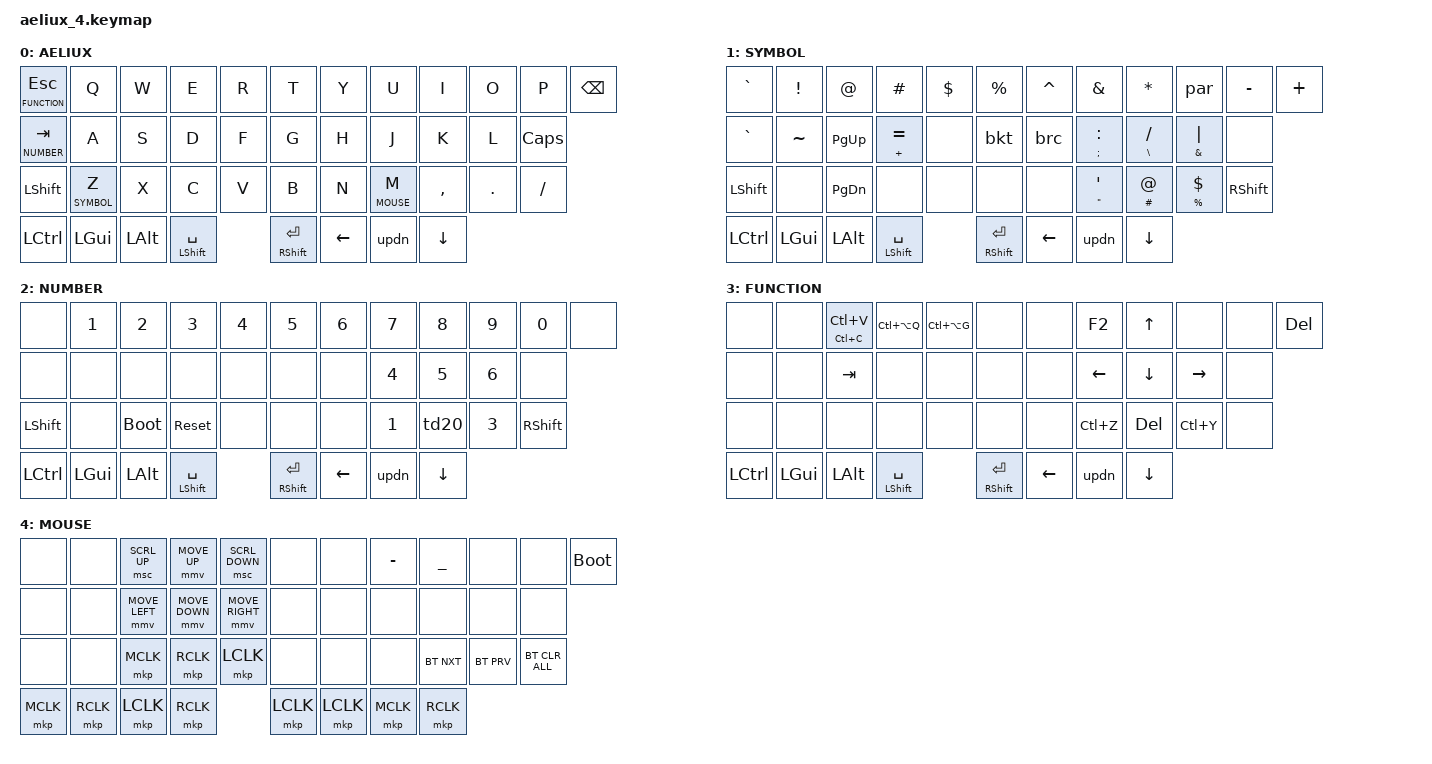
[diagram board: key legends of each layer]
/*
 * Copyright (c) 2025 miketronic
 * SPDX-License-Identifier: MIT
 * AELIUX 4 
 */

/*
 * Includes Cem's zmk-rgbled-widget - https://github.com/caksoylar/zmk-rgbled-widget
 * &ind_bat  // indicate battery level
 * &ind_con  // indicate connectivity status
 *
 * List of behvaiors here > https://github.com/zmkfirmware/zmk/tree/main/app/dts/behaviors
 *
 *
 * #undef ZMK_BEHAVIORS_KEEP_ALL
 * #define ZMK_BEHAVIORS_KEEP_BT
 * #define ZMK_BEHAVIORS_KEEP_KP
 * #define ZMK_BEHAVIORS_KEEP_LT
 * #define ZMK_BEHAVIORS_KEEP_MKP
 * #define ZMK_BEHAVIORS_KEEP_MMV
 * #define ZMK_BEHAVIORS_KEEP_MSC
 * #define ZMK_BEHAVIORS_KEEP_MT
 * #define ZMK_BEHAVIORS_KEEP_NONE
 * #define ZMK_BEHAVIORS_KEEP_SK
 *
 *
 */




#define ZMK_POINTING_DEFAULT_MOVE_VAL 500
#define ZMK_POINTING_DEFAULT_SCRL_VAL 40

#include <behaviors.dtsi>
#include <input/processors.dtsi>
#include <zephyr/dt-bindings/input/input-event-codes.h>
#include <dt-bindings/zmk/keys.h>
#include <dt-bindings/zmk/bt.h>
#include <dt-bindings/zmk/outputs.h>
#include <dt-bindings/zmk/pointing.h>

#define ALPHA       0
#define SYMBOL      1
#define NUMBER      2
#define FUNCTION    3
#define MOUSE       4

#define CPST   &cccv LC(C) LC(V)
#define ESCFN  &lt FUNCTION ESC
#define NTAB   &lt NUMBER TAB
#define SYMZ   &lt SYMBOL Z
#define MMSE   &lt MOUSE M

#define LSPC   &mt LSHIFT SPC
#define RENT   &mt RSHIFT RET
#define PRN    &mt RPAR LPAR
#define OCOM   &mt COMMA O
#define YDOT   &mt DOT Y  
#define ATH    &mt HASH AT
#define PIP    &mt AMPS PIPE
#define PRC    &mt PRCNT DLLR
#define QOT    &mt DQT SQT
#define SLS    &mt BSLH FSLH
#define CLN    &mt SEMI COLON
#define EQP    &mt PLUS EQUAL
#define GRTL   &mt GRAVE TILDE
#define STCT   &mt CARET STAR

#define LSHF    &kp LSHFT
#define RSHF    &kp RSHFT
#define RTCL    &kp RCTRL
#define COMM    &kp COMMA
#define GRV     &kp GRAVE
#define UND     &kp UNDER
#define MINS    &kp MINUS
#define UNDS    &kp UNDER
#define KUP     &kp PG_UP
#define KDN     &kp PG_DN
#define bl      &bootloader

#define MM_U &mmv MOVE_UP
#define MM_D &mmv MOVE_DOWN
#define MM_R &mmv MOVE_RIGHT
#define MM_L &mmv MOVE_LEFT

#define MS_U &msc SCRL_UP
#define MS_D &msc SCRL_DOWN
#define MS_R &msc SCRL_RIGHT
#define MS_L &msc SCRL_LEFT

#define MCK  &mkp MCLK  
#define RCK  &mkp RCLK  
#define LCK  &mkp LCLK 

&mmv_input_listener {
        standard {
            layers = <MOUSE>;
            input-processors = <&zip_xy_scaler 3 1>;
        };
};

&mmv {
    x-input-code = <INPUT_REL_X>;
    y-input-code = <INPUT_REL_Y>;
    time-to-max-speed-ms = <300>;
    acceleration-exponent = <2>;
};

&mt {
    tapping-term-ms = <160>;
};

&lt {
    tapping-term-ms = <150>;
};


/ {

    leds {
        compatible = "gpio-leds";
        user_led: led_0 {
            gpios = <&gpio0 15 GPIO_ACTIVE_HIGH>;
            label = "User LED";
        };
    };

    aliases {
        indicator-led = &user_led;
    };

    combos {

        compatible = "zmk,combos";
        combo_bootloader {
            timeout-ms = <100>;
            key-positions = <0 11>;
            bindings = <&bootloader>;
        };

        compatible = "zmk,combos";
        combo_lctl {
            timeout-ms = <100>;
            key-positions = <1 2 3>;
            bindings = <&kp LCTRL>;
        };

        compatible = "zmk,combos";
        combo_lalt {
            timeout-ms = <100>;
            key-positions = <13 14 15>;
            bindings = <&kp LALT>;
        };

        compatible = "zmk,combos";
        combo_rctl {
            timeout-ms = <100>;
            key-positions = <8 9 10>;
            bindings = <&kp RCTRL>;
        };

        compatible = "zmk,combos";
        combo_ralt {
            timeout-ms = <100>;
            key-positions = <19 20 21>;
            bindings = <&kp RALT>;
        };

        compatible = "zmk,combos";
        combo_semi {
            timeout-ms = <100>;
            key-positions = <20 21>;
            bindings = <&kp SEMI>;
        };

        compatible = "zmk,combos";
        combo_quote {
            timeout-ms = <100>;
            key-positions = <21 22>;
            bindings = <&kp QUOT>;
        };


    };

    behaviors {

        bkt: tap_dance_bracket {
            compatible = "zmk,behavior-tap-dance";
            #binding-cells = <0>;
            tapping-term-ms = <200>;
            bindings = <&kp LBKT>, <&kp RBKT>;
        };

        cln: tap_dance_colon {
            compatible = "zmk,behavior-tap-dance";
            #binding-cells = <0>;
            tapping-term-ms = <250>;
            bindings = <&kp COLON>, <&kp SEMI>;
        };

        brc: tap_dance_brace {
            compatible = "zmk,behavior-tap-dance";
            #binding-cells = <0>;
            tapping-term-ms = <200>;
            bindings = <&kp LBRC>, <&kp RBRC>;
        };

        par: tap_dance_paren {
            compatible = "zmk,behavior-tap-dance";
            #binding-cells = <0>;
            tapping-term-ms = <200>;
            bindings = <&kp LPAR>, <&kp RPAR>;
        };

        thn: tap_dance_then {
            compatible = "zmk,behavior-tap-dance";
            #binding-cells = <0>;
            tapping-term-ms = <200>;
            bindings = <&kp LT>, <&kp GT>;
        };

        qot: tap_dance_quote {
            compatible = "zmk,behavior-tap-dance";
            #binding-cells = <0>;
            tapping-term-ms = <250>;
            bindings = <&kp SQT>, <&kp DQT>;
        };

        sls: tap_dance_slash {
            compatible = "zmk,behavior-tap-dance";
            #binding-cells = <0>;
            tapping-term-ms = <250>;
            bindings = <&kp FSLH>, <&kp BSLH>;
        };

        pipe: tap_dance_pipe {
            compatible = "zmk,behavior-tap-dance";
            #binding-cells = <0>;
            tapping-term-ms = <250>;
            bindings = <&kp PIPE>, <&kp AMPS>;
        };

        at: tap_dance_at {
            compatible = "zmk,behavior-tap-dance";
            #binding-cells = <0>;
            tapping-term-ms = <250>;
            bindings = <&kp AT>, <&kp HASH>;
        };

        perc: tap_dance_perc {
            compatible = "zmk,behavior-tap-dance";
            #binding-cells = <0>;
            tapping-term-ms = <250>;
            bindings = <&kp PRCNT>, <&kp DLLR>;
        };

        escw: tap_dance_escw {
            compatible = "zmk,behavior-tap-dance";
            #binding-cells = <0>;
            tapping-term-ms = <200>;
            bindings = <&kp W>, <&kp ESC>;
        };

        hmend: tap_dance_hmend {
            compatible = "zmk,behavior-tap-dance";
            #binding-cells = <0>;
            tapping-term-ms = <200>;
            bindings = <&kp END>, <&kp HOME>;
        };

        tdW: tap_dance_W {
            compatible = "zmk,behavior-tap-dance";
            #binding-cells = <0>;
            tapping-term-ms = <240>;
            bindings = <&kp W>, <&kp ESC>;
        };

        td20: tap_dance_20 {
            compatible = "zmk,behavior-tap-dance";
            #binding-cells = <0>;
            tapping-term-ms = <240>;
            bindings = <&kp N2>, <&kp N0>;
        };

        updn: tap_dance_updn {
            compatible = "zmk,behavior-tap-dance";
            #binding-cells = <0>;
            tapping-term-ms = <240>;
            bindings = <&kp UP>, <&kp DOWN>;
        };

        cccv: copy_paste {
           compatible = "zmk,behavior-hold-tap";
           #binding-cells = <2>;
           flavor = "hold-preferred";
           tapping-term-ms = <200>;
            bindings = <&kp>, <&kp>;
        };

        hrm: homerow_mods {
           compatible = "zmk,behavior-hold-tap";
           #binding-cells = <2>;
           tapping-term-ms = <250>;
           quick-tap-ms = <0>;
           flavor = "tap-preferred";
           bindings = <&kp>, <&kp>;


        };

    };



    keymap {
        compatible = "zmk,keymap";

       ALPHA_layer {
            display-name = "AELIUX";  
            bindings = <
                ESCFN  &kp Q   &kp W   &kp E   &kp R   &kp T   &kp Y   &kp U   &kp I     &kp O   &kp P    &kp BSPC
                NTAB   &kp A   &kp S   &kp D   &kp F   &kp G   &kp H   &kp J   &kp K     &kp L    &kp CAPS
                LSHF   SYMZ    &kp X   &kp C   &kp V   &kp B   &kp N   MMSE    COMM      &kp DOT  &kp FSLH
                &kp LCTRL &kp LGUI &kp LALT    LSPC    RENT    &kp LEFT &updn &kp DOWN
            >;
        };

        SYMBOL_layer {
            display-name = "SYMBOL";  
            bindings = <
                GRV   &kp EXCL  &kp AT    &kp HASH  &kp DLLR &kp PRCNT &kp CARET &kp AMPS  &kp STAR &par &kp MINUS &kp PLUS
                GRV   &kp TILDE KUP       EQP       &none    &bkt      &brc      CLN       SLS      PIP  &none 
                LSHF  &none     KDN       &none     &none    &none     &none     QOT       ATH      PRC  RSHF
                &kp LCTRL &kp LGUI &kp LALT    LSPC    RENT    &kp LEFT &updn &kp DOWN
            >;
        };

        NUMBER_layer {
            display-name = "NUMBER";  
            bindings = <
                &none &kp N1 &kp N2 &kp N3 &kp N4 &kp N5 &kp N6 &kp N7 &kp N8 &kp N9 &kp N0 &none
                &none &none &none &none &none &none &none &kp N4 &kp N5 &kp N6 &none
                &kp LSHFT &none bl  &sys_reset  &none &none &none &kp N1 &td20 &kp N3 &kp RSHFT 
                &kp LCTRL &kp LGUI &kp LALT    LSPC    RENT    &kp LEFT &updn &kp DOWN
            >;
        };

        FUNCTION_layer {
            display-name = "FUNCTION";  
            bindings = <
                &none  &none  CPST   &kp LC(LA(Q)) &kp LC(LA(G)) &none  &none     &kp F2   &kp UP    &none &none &kp DEL
                &none  &none  &kp TAB  &none  &none  &none       &none  &kp LEFT  &kp DOWN &kp RIGHT &none
                &none  &none  &none    &none  &none  &none       &none  &kp LC(Z) &kp DEL  &kp LC(Y) &none
                &kp LCTRL &kp LGUI &kp LALT    LSPC    RENT    &kp LEFT &updn &kp DOWN
            >;
        };

        MOUSE_layer {
            display-name = "MOUSE";  
            bindings = <
                &none &none MS_U  MM_U  MS_D  &none       &none  MINS   UNDS  &none &none &bootloader
                &none &none MM_L  MM_D  MM_R  &none       &none  &none  &none &none &none 
                &none &none MCK   RCK   LCK   &none       &none  &none  &bt BT_NXT &bt BT_PRV &bt BT_CLR_ALL
                MCK  RCK  LCK                 RCK         LCK          LCK  MCK  RCK
            >;
        };

        extra1 {
            status = "reserved";
        };

        extra2 {
            status = "reserved";
        };

        extra3 {
            status = "reserved";
        };

        extra4 {
            status = "reserved";
        };

    };
};
